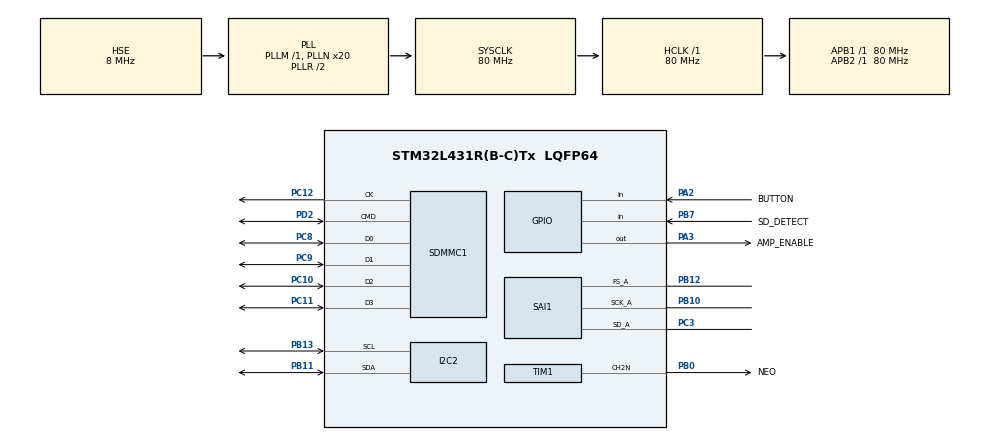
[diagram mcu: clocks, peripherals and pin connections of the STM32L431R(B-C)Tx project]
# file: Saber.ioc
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Dma.Request0=SAI1_A
Dma.Request1=SDMMC1
Dma.SAI1_A.0.Direction=DMA_MEMORY_TO_PERIPH
Dma.SAI1_A.0.Instance=DMA2_Channel1
Dma.SAI1_A.0.MemDataAlignment=DMA_MDATAALIGN_HALFWORD
Dma.SAI1_A.0.MemInc=DMA_MINC_ENABLE
Dma.SAI1_A.0.Mode=DMA_CIRCULAR
Dma.SAI1_A.0.PeriphDataAlignment=DMA_PDATAALIGN_HALFWORD
Dma.SAI1_A.0.PeriphInc=DMA_PINC_DISABLE
Dma.SAI1_A.0.Priority=DMA_PRIORITY_VERY_HIGH
Dma.SDMMC1.1.Direction=DMA_PERIPH_TO_MEMORY
Dma.SDMMC1.1.Instance=DMA2_Channel4
Dma.SDMMC1.1.MemDataAlignment=DMA_MDATAALIGN_WORD
Dma.SDMMC1.1.MemInc=DMA_MINC_ENABLE
Dma.SDMMC1.1.Mode=DMA_NORMAL
Dma.SDMMC1.1.PeriphDataAlignment=DMA_PDATAALIGN_WORD
Dma.SDMMC1.1.PeriphInc=DMA_PINC_DISABLE
Dma.SDMMC1.1.Priority=DMA_PRIORITY_VERY_HIGH
FATFS.BSP.number=1
FATFS.USE_DMA_CODE_SD=1
FATFS._FS_LOCK=3
FATFS._FS_MINIMIZE=0
FATFS._FS_NORTC=0
FATFS._FS_TIMEOUT=2000
FATFS._NORTC_MON=8
FATFS._NORTC_YEAR=2024
FATFS._STRF_ENCODE=0
FATFS._USE_LFN=2
FATFS0.BSP.STBoard=false
FATFS0.BSP.api=Unknown
FATFS0.BSP.instance=PB7
FATFS0.BSP.ip=GPIO
FATFS0.BSP.mode=Input
FATFS0.BSP.name=Detect_SDIO
FATFS0.BSP.solution=PB7
I2C2.Timing=0x10D19CE4
Mcu.Family=STM32L4
Mcu.Name=STM32L431R(B-C)Tx
Mcu.Package=LQFP64
NVIC.DMA2_Channel1_IRQn=true\:0\:0\:false\:false\:true\:false\:true\:true
NVIC.DMA2_Channel4_IRQn=true\:0\:0\:false\:false\:true\:false\:true\:true
NVIC.PriorityGroup=NVIC_PRIORITYGROUP_4
NVIC.SDMMC1_IRQn=true\:0\:0\:false\:false\:true\:true\:true\:true
PA13\ (JTMS-SWDIO).Mode=Trace_Asynchronous_SW
PA13\ (JTMS-SWDIO).Signal=SYS_JTMS-SWDIO
PA14\ (JTCK-SWCLK).Mode=Trace_Asynchronous_SW
PA14\ (JTCK-SWCLK).Signal=SYS_JTCK-SWCLK
PA2.GPIO_Label=BUTTON
PA2.Signal=GPIO_Input
PA3.GPIO_Label=AMP_ENABLE
PA3.GPIO_PuPd=GPIO_PULLUP
PA3.PinState=GPIO_PIN_SET
PA3.Signal=GPIO_Output
PB0.GPIO_Label=NEO
PB0.Mode=Output Compare2 CH2N
PB0.Signal=TIM1_CH2N
PB10.Mode=SAI_A_Master
PB10.Signal=SAI1_SCK_A
PB11.Mode=I2C
PB11.Signal=I2C2_SDA
PB12.Mode=SAI_A_Master
PB12.Signal=SAI1_FS_A
PB13.Mode=I2C
PB13.Signal=I2C2_SCL
PB3\ (JTDO-TRACESWO).Mode=Trace_Asynchronous_SW
PB3\ (JTDO-TRACESWO).Signal=SYS_JTDO-SWO
PB7.GPIO_Label=SD_DETECT
PB7.Signal=GPIO_Input
PC10.GPIO_PuPd=GPIO_PULLUP
PC10.GPIO_Speed_High_Default=GPIO_SPEED_FREQ_LOW
PC10.Mode=SD_4_bits_Wide_bus
PC10.Signal=SDMMC1_D2
PC11.GPIO_PuPd=GPIO_PULLUP
PC11.GPIO_Speed_High_Default=GPIO_SPEED_FREQ_LOW
PC11.Mode=SD_4_bits_Wide_bus
PC11.Signal=SDMMC1_D3
PC12.GPIO_Speed_High_Default=GPIO_SPEED_FREQ_LOW
PC12.Mode=SD_4_bits_Wide_bus
PC12.Signal=SDMMC1_CK
PC3.Mode=SAI_A_Master
PC3.Signal=SAI1_SD_A
PC8.GPIO_PuPd=GPIO_PULLUP
PC8.GPIO_Speed_High_Default=GPIO_SPEED_FREQ_LOW
PC8.Mode=SD_4_bits_Wide_bus
PC8.Signal=SDMMC1_D0
PC9.GPIO_PuPd=GPIO_PULLUP
PC9.GPIO_Speed_High_Default=GPIO_SPEED_FREQ_LOW
PC9.Mode=SD_4_bits_Wide_bus
PC9.Signal=SDMMC1_D1
PD2.GPIO_PuPd=GPIO_PULLUP
PD2.GPIO_Speed_High_Default=GPIO_SPEED_FREQ_LOW
PD2.Mode=SD_4_bits_Wide_bus
PD2.Signal=SDMMC1_CMD
PH0-OSC_IN\ (PH0).Mode=HSE-External-Oscillator
PH0-OSC_IN\ (PH0).Signal=RCC_OSC_IN
PH1-OSC_OUT\ (PH1).Mode=HSE-External-Oscillator
PH1-OSC_OUT\ (PH1).Signal=RCC_OSC_OUT
ProjectManager.HeapSize=0x400
ProjectManager.StackSize=0x800
ProjectManager.TargetToolchain=STM32CubeIDE
RCC.ADCFreq_Value=148000000
RCC.AHBFreq_Value=80000000
RCC.APB1Freq_Value=80000000
RCC.APB1TimFreq_Value=80000000
RCC.APB2Freq_Value=80000000
RCC.APB2TimFreq_Value=80000000
RCC.CK48CLockSelection=RCC_USBCLKSOURCE_PLL
RCC.CortexFreq_Value=80000000
RCC.HCLKFreq_Value=80000000
RCC.HSE_VALUE=8000000
RCC.HSI48_VALUE=48000000
RCC.HSI_VALUE=16000000
RCC.LSE_VALUE=32768
RCC.MSI_VALUE=4000000
RCC.PLLN=20
RCC.PLLQ=RCC_PLLQ_DIV4
RCC.PLLSAI1N=37
RCC.PLLSAI1P=RCC_PLLP_DIV6
RCC.PLLSAI1Q=RCC_PLLQ_DIV8
RCC.PLLSourceVirtual=RCC_PLLSOURCE_HSE
RCC.SYSCLKFreq_VALUE=80000000
RCC.SYSCLKSource=RCC_SYSCLKSOURCE_PLLCLK
RCC.VCOOutputFreq_Value=160000000
SAI1.AudioFrequency-SAI_A_Master=SAI_AUDIO_FREQUENCY_48K
SAI1.ErrorAudioFreq-SAI_A_Master=0.36 %
SAI1.FIFOThreshold-SAI_A_Master=SAI_FIFOTHRESHOLD_EMPTY
SAI1.InitProtocol-SAI_A_Master=Enable
SAI1.Instance-SAI_A_Master=SAI$Index_Block_A
SAI1.MClockEnable-SAI_A_Master=SAI_MASTERCLOCK_DISABLE
SAI1.MonoStereoMode-SAI_A_Master=SAI_STEREOMODE
SAI1.OutputDrive-SAI_A_Master=SAI_OUTPUTDRIVE_ENABLE
SAI1.RealAudioFreq-SAI_A_Master=48.177 KHz
SAI1.VirtualMode-SAI_A_Master=VM_MASTER
SAI1.VirtualProtocol-SAI_A_BASIC=VM_BASIC_PROTOCOL
SDMMC1.ClockDiv=1
SDMMC1.HardwareFlowControl=SDMMC_HARDWARE_FLOW_CONTROL_ENABLE
TIM1.Channel-Output\ Compare2\ CH2N=TIM_CHANNEL_2
TIM1.Period=99
VP_FATFS_VS_SDIO.Mode=SDIO
VP_SAI1_VP_$IpInstance_SAIA_SAI_BASIC.Mode=SAI_A_BASIC
VP_TIM1_VS_ClockSourceINT.Mode=Internal
board=custom

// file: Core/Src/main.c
/* USER CODE BEGIN Header */
/**
  ******************************************************************************
  * @file           : main.c
  * @brief          : Main program body
  ******************************************************************************
  * @attention
  *
  * Copyright (c) 2022 STMicroelectronics.
  * All rights reserved.
  *
  * This software is licensed under terms that can be found in the LICENSE file
  * in the root directory of this software component.
  * If no LICENSE file comes with this software, it is provided AS-IS.
  *
  ******************************************************************************
  */
/* USER CODE END Header */
#include "main.h"
#include "fatfs.h"

/* USER CODE BEGIN Includes */
#include "lsm6dsr_reg.h"
#include <string.h>
#include <stdio.h>
#include <stdbool.h>

/* USER CODE END Includes */

/* USER CODE BEGIN PD */
#define MAX_LED 59 // LED Count
#define SENSOR_BUS hi2c2
//#define I2C_ENABLE
//#define NEO_ENABLE
#define SD_ENABLE
/* USER CODE END PD */

/* USER CODE BEGIN PM */
#define    BOOT_TIME            30 //ms
#define BUFFER_SIZE 512  // Adjust size as needed
/* USER CODE END PM */

I2C_HandleTypeDef hi2c2;

SAI_HandleTypeDef hsai_BlockA1;
DMA_HandleTypeDef hdma_sai1_a;

SD_HandleTypeDef hsd1;
DMA_HandleTypeDef hdma_sdmmc1;

TIM_HandleTypeDef htim1;

/* USER CODE BEGIN PV */
FATFS fs;
FIL audioFile;
WAV_HeaderTypeDef wavHeader;

uint16_t bufferA[BUFFER_SIZE];
uint16_t bufferB[BUFFER_SIZE];
volatile uint8_t bufferReady = 0;
uint8_t currentBuffer = 0;
uint8_t fillBuffer = 0;
uint8_t playing = 0;

#ifdef NEO_ENABLE
uint8_t LED_Data[MAX_LED][4];
uint16_t pwmData[(24*MAX_LED)+50];
int datasentflag = 0;
uint32_t sine_wave_index = 0;
#endif

#ifdef I2C_ENABLE
static int16_t data_raw_acceleration[3];
static int16_t data_raw_angular_rate[3];
static int16_t data_raw_temperature;
static float acceleration_mg[3];
static float angular_rate_mdps[3];
static float temperature_degC;
static uint8_t whoamI, rst;
static uint8_t tx_buffer[1000];
#endif

/* USER CODE END PV */

void SystemClock_Config(void);
static void MX_GPIO_Init(void);
static void MX_DMA_Init(void);
static void MX_I2C2_Init(void);
static void MX_SAI1_Init(void);
static void MX_SDMMC1_SD_Init(void);
static void MX_TIM1_Init(void);
/* USER CODE BEGIN PFP */
#ifdef NEO_ENABLE
void Set_LED (int LEDnum, int Red, int Green, int Blue);
void WS2812_Send (void);
#endif

#ifdef I2C_ENABLE
static int32_t platform_write(void *handle, uint8_t reg, const uint8_t *bufp,
                              uint16_t len);
static int32_t platform_read(void *handle, uint8_t reg, uint8_t *bufp,
                             uint16_t len);
static void tx_com( uint8_t *tx_buffer, uint16_t len );
#endif

void FillBuffer();
int8_t MountFileSystem(int force);
FRESULT ReadWavHeader(FIL *audioFile, WAV_HeaderTypeDef *wavHeader) ;
MAXRESULT SDInit(char* fileName);
void StartAudioPlayback(char* fileToPlay);
void AdjustVolume(void* buffer, uint16_t size, uint16_t vol);
//static void platform_delay(uint32_t ms);

int _write(int file, char *ptr, int len)
{
	int i=0;
	for(i=0; i<len; i++)
		ITM_SendChar((*ptr++));
	return len;
}

/* USER CODE END PFP */

int main(void)
{

  /* MCU Configuration--------------------------------------------------------*/

  /* Reset of all peripherals, Initializes the Flash interface and the Systick. */
  HAL_Init();

  /* Configure the system clock */
  SystemClock_Config();

  /* Initialize all configured peripherals */
  MX_GPIO_Init();
  MX_DMA_Init();
  MX_I2C2_Init();
  MX_SAI1_Init();
  MX_SDMMC1_SD_Init();
  MX_TIM1_Init();
  MX_FATFS_Init();
  /* USER CODE BEGIN 2 */

#ifdef I2C_ENABLE
  I2CInit();
#endif

  /* USER CODE END 2 */

  /* Infinite loop */
  /* USER CODE BEGIN WHILE */
  while (1)
  {
#ifdef I2C_ENABLE
	  printf("Print \n");
	  uint8_t reg;
	  lsm6dsr_xl_flag_data_ready_get(&dev_ctx, &reg);
	  if (reg) {

	        memset(data_raw_acceleration, 0x00, 3 * sizeof(int16_t));
	        lsm6dsr_acceleration_raw_get(&dev_ctx, data_raw_acceleration);
	        acceleration_mg[0] = lsm6dsr_from_fs2g_to_mg(data_raw_acceleration[0]);
	        acceleration_mg[1] = lsm6dsr_from_fs2g_to_mg(data_raw_acceleration[1]);
	        acceleration_mg[2] = lsm6dsr_from_fs2g_to_mg(data_raw_acceleration[2]);
	        printf((char *)tx_buffer,
	                "Acceleration [mg]:%4.2f\t%4.2f\t%4.2f\r\n",
	                acceleration_mg[0], acceleration_mg[1], acceleration_mg[2]);
	      }

#endif
	      //printf("Looping\n\r");
	  	  if (HAL_GPIO_ReadPin(GPIOA,BUTTON_Pin) == GPIO_PIN_SET && playing == 0)StartAudioPlayback("ON.WAV");

  }
    /* USER CODE END WHILE */

}

void SystemClock_Config(void)
{
  RCC_OscInitTypeDef RCC_OscInitStruct = {0};
  RCC_ClkInitTypeDef RCC_ClkInitStruct = {0};

  /** Configure the main internal regulator output voltage
  */
  if (HAL_PWREx_ControlVoltageScaling(PWR_REGULATOR_VOLTAGE_SCALE1) != HAL_OK)
  {
    Error_Handler();
  }

  /** Initializes the RCC Oscillators according to the specified parameters
  * in the RCC_OscInitTypeDef structure.
  */
  RCC_OscInitStruct.OscillatorType = RCC_OSCILLATORTYPE_HSE;
  RCC_OscInitStruct.HSEState = RCC_HSE_ON;
  RCC_OscInitStruct.PLL.PLLState = RCC_PLL_ON;
  RCC_OscInitStruct.PLL.PLLSource = RCC_PLLSOURCE_HSE;
  RCC_OscInitStruct.PLL.PLLM = 1;
  RCC_OscInitStruct.PLL.PLLN = 20;
  RCC_OscInitStruct.PLL.PLLP = RCC_PLLP_DIV7;
  RCC_OscInitStruct.PLL.PLLQ = RCC_PLLQ_DIV4;
  RCC_OscInitStruct.PLL.PLLR = RCC_PLLR_DIV2;
  if (HAL_RCC_OscConfig(&RCC_OscInitStruct) != HAL_OK)
  {
    Error_Handler();
  }

  /** Initializes the CPU, AHB and APB buses clocks
  */
  RCC_ClkInitStruct.ClockType = RCC_CLOCKTYPE_HCLK|RCC_CLOCKTYPE_SYSCLK
                              |RCC_CLOCKTYPE_PCLK1|RCC_CLOCKTYPE_PCLK2;
  RCC_ClkInitStruct.SYSCLKSource = RCC_SYSCLKSOURCE_PLLCLK;
  RCC_ClkInitStruct.AHBCLKDivider = RCC_SYSCLK_DIV1;
  RCC_ClkInitStruct.APB1CLKDivider = RCC_HCLK_DIV1;
  RCC_ClkInitStruct.APB2CLKDivider = RCC_HCLK_DIV1;

  if (HAL_RCC_ClockConfig(&RCC_ClkInitStruct, FLASH_LATENCY_4) != HAL_OK)
  {
    Error_Handler();
  }
}

static void MX_I2C2_Init(void)
{

  hi2c2.Instance = I2C2;
  hi2c2.Init.Timing = 0x10D19CE4;
  hi2c2.Init.OwnAddress1 = 0;
  hi2c2.Init.AddressingMode = I2C_ADDRESSINGMODE_7BIT;
  hi2c2.Init.DualAddressMode = I2C_DUALADDRESS_DISABLE;
  hi2c2.Init.OwnAddress2 = 0;
  hi2c2.Init.OwnAddress2Masks = I2C_OA2_NOMASK;
  hi2c2.Init.GeneralCallMode = I2C_GENERALCALL_DISABLE;
  hi2c2.Init.NoStretchMode = I2C_NOSTRETCH_DISABLE;
  if (HAL_I2C_Init(&hi2c2) != HAL_OK)
  {
    Error_Handler();
  }

  /** Configure Analogue filter
  */
  if (HAL_I2CEx_ConfigAnalogFilter(&hi2c2, I2C_ANALOGFILTER_ENABLE) != HAL_OK)
  {
    Error_Handler();
  }

  /** Configure Digital filter
  */
  if (HAL_I2CEx_ConfigDigitalFilter(&hi2c2, 0) != HAL_OK)
  {
    Error_Handler();
  }

}

static void MX_SAI1_Init(void)
{

  hsai_BlockA1.Instance = SAI1_Block_A;
  hsai_BlockA1.Init.AudioMode = SAI_MODEMASTER_TX;
  hsai_BlockA1.Init.Synchro = SAI_ASYNCHRONOUS;
  hsai_BlockA1.Init.OutputDrive = SAI_OUTPUTDRIVE_ENABLE;
  hsai_BlockA1.Init.NoDivider = SAI_MASTERDIVIDER_ENABLE;
  hsai_BlockA1.Init.FIFOThreshold = SAI_FIFOTHRESHOLD_EMPTY;
  hsai_BlockA1.Init.AudioFrequency = SAI_AUDIO_FREQUENCY_48K;
  hsai_BlockA1.Init.SynchroExt = SAI_SYNCEXT_DISABLE;
  hsai_BlockA1.Init.MonoStereoMode = SAI_STEREOMODE;
  hsai_BlockA1.Init.CompandingMode = SAI_NOCOMPANDING;
  hsai_BlockA1.Init.TriState = SAI_OUTPUT_NOTRELEASED;
  if (HAL_SAI_InitProtocol(&hsai_BlockA1, SAI_I2S_STANDARD, SAI_PROTOCOL_DATASIZE_16BIT, 2) != HAL_OK)
  {
    Error_Handler();
  }

}

static void MX_SDMMC1_SD_Init(void)
{

  hsd1.Instance = SDMMC1;
  hsd1.Init.ClockEdge = SDMMC_CLOCK_EDGE_RISING;
  hsd1.Init.ClockBypass = SDMMC_CLOCK_BYPASS_DISABLE;
  hsd1.Init.ClockPowerSave = SDMMC_CLOCK_POWER_SAVE_DISABLE;
  hsd1.Init.BusWide = SDMMC_BUS_WIDE_4B;
  hsd1.Init.HardwareFlowControl = SDMMC_HARDWARE_FLOW_CONTROL_ENABLE;
  hsd1.Init.ClockDiv = 1;

}

static void MX_TIM1_Init(void)
{

  TIM_ClockConfigTypeDef sClockSourceConfig = {0};
  TIM_MasterConfigTypeDef sMasterConfig = {0};
  TIM_OC_InitTypeDef sConfigOC = {0};
  TIM_BreakDeadTimeConfigTypeDef sBreakDeadTimeConfig = {0};

  htim1.Instance = TIM1;
  htim1.Init.Prescaler = 0;
  htim1.Init.CounterMode = TIM_COUNTERMODE_UP;
  htim1.Init.Period = 99;
  htim1.Init.ClockDivision = TIM_CLOCKDIVISION_DIV1;
  htim1.Init.RepetitionCounter = 0;
  htim1.Init.AutoReloadPreload = TIM_AUTORELOAD_PRELOAD_DISABLE;
  if (HAL_TIM_Base_Init(&htim1) != HAL_OK)
  {
    Error_Handler();
  }
  sClockSourceConfig.ClockSource = TIM_CLOCKSOURCE_INTERNAL;
  if (HAL_TIM_ConfigClockSource(&htim1, &sClockSourceConfig) != HAL_OK)
  {
    Error_Handler();
  }
  if (HAL_TIM_OC_Init(&htim1) != HAL_OK)
  {
    Error_Handler();
  }
  sMasterConfig.MasterOutputTrigger = TIM_TRGO_RESET;
  sMasterConfig.MasterOutputTrigger2 = TIM_TRGO2_RESET;
  sMasterConfig.MasterSlaveMode = TIM_MASTERSLAVEMODE_DISABLE;
  if (HAL_TIMEx_MasterConfigSynchronization(&htim1, &sMasterConfig) != HAL_OK)
  {
    Error_Handler();
  }
  sConfigOC.OCMode = TIM_OCMODE_TIMING;
  sConfigOC.Pulse = 0;
  sConfigOC.OCPolarity = TIM_OCPOLARITY_HIGH;
  sConfigOC.OCNPolarity = TIM_OCNPOLARITY_HIGH;
  sConfigOC.OCFastMode = TIM_OCFAST_DISABLE;
  sConfigOC.OCIdleState = TIM_OCIDLESTATE_RESET;
  sConfigOC.OCNIdleState = TIM_OCNIDLESTATE_RESET;
  if (HAL_TIM_OC_ConfigChannel(&htim1, &sConfigOC, TIM_CHANNEL_2) != HAL_OK)
  {
    Error_Handler();
  }
  sBreakDeadTimeConfig.OffStateRunMode = TIM_OSSR_DISABLE;
  sBreakDeadTimeConfig.OffStateIDLEMode = TIM_OSSI_DISABLE;
  sBreakDeadTimeConfig.LockLevel = TIM_LOCKLEVEL_OFF;
  sBreakDeadTimeConfig.DeadTime = 0;
  sBreakDeadTimeConfig.BreakState = TIM_BREAK_DISABLE;
  sBreakDeadTimeConfig.BreakPolarity = TIM_BREAKPOLARITY_HIGH;
  sBreakDeadTimeConfig.BreakFilter = 0;
  sBreakDeadTimeConfig.Break2State = TIM_BREAK2_DISABLE;
  sBreakDeadTimeConfig.Break2Polarity = TIM_BREAK2POLARITY_HIGH;
  sBreakDeadTimeConfig.Break2Filter = 0;
  sBreakDeadTimeConfig.AutomaticOutput = TIM_AUTOMATICOUTPUT_DISABLE;
  if (HAL_TIMEx_ConfigBreakDeadTime(&htim1, &sBreakDeadTimeConfig) != HAL_OK)
  {
    Error_Handler();
  }
  HAL_TIM_MspPostInit(&htim1);

}

static void MX_DMA_Init(void)
{

  /* DMA controller clock enable */
  __HAL_RCC_DMA2_CLK_ENABLE();

  /* DMA interrupt init */
  /* DMA2_Channel1_IRQn interrupt configuration */
  HAL_NVIC_SetPriority(DMA2_Channel1_IRQn, 0, 0);
  HAL_NVIC_EnableIRQ(DMA2_Channel1_IRQn);
  /* DMA2_Channel4_IRQn interrupt configuration */
  HAL_NVIC_SetPriority(DMA2_Channel4_IRQn, 0, 0);
  HAL_NVIC_EnableIRQ(DMA2_Channel4_IRQn);

}

static void MX_GPIO_Init(void)
{
  GPIO_InitTypeDef GPIO_InitStruct = {0};

  /* GPIO Ports Clock Enable */
  __HAL_RCC_GPIOH_CLK_ENABLE();
  __HAL_RCC_GPIOC_CLK_ENABLE();
  __HAL_RCC_GPIOA_CLK_ENABLE();
  __HAL_RCC_GPIOB_CLK_ENABLE();
  __HAL_RCC_GPIOD_CLK_ENABLE();

  /*Configure GPIO pin Output Level */
  HAL_GPIO_WritePin(AMP_ENABLE_GPIO_Port, AMP_ENABLE_Pin, GPIO_PIN_SET);

  /*Configure GPIO pin : BUTTON_Pin */
  GPIO_InitStruct.Pin = BUTTON_Pin;
  GPIO_InitStruct.Mode = GPIO_MODE_INPUT;
  GPIO_InitStruct.Pull = GPIO_NOPULL;
  HAL_GPIO_Init(BUTTON_GPIO_Port, &GPIO_InitStruct);

  /*Configure GPIO pin : AMP_ENABLE_Pin */
  GPIO_InitStruct.Pin = AMP_ENABLE_Pin;
  GPIO_InitStruct.Mode = GPIO_MODE_OUTPUT_PP;
  GPIO_InitStruct.Pull = GPIO_PULLUP;
  GPIO_InitStruct.Speed = GPIO_SPEED_FREQ_LOW;
  HAL_GPIO_Init(AMP_ENABLE_GPIO_Port, &GPIO_InitStruct);

  /*Configure GPIO pin : SD_DETECT_Pin */
  GPIO_InitStruct.Pin = SD_DETECT_Pin;
  GPIO_InitStruct.Mode = GPIO_MODE_INPUT;
  GPIO_InitStruct.Pull = GPIO_NOPULL;
  HAL_GPIO_Init(SD_DETECT_GPIO_Port, &GPIO_InitStruct);

}

/* USER CODE BEGIN 4 */

void I2CInit()
{
	stmdev_ctx_t dev_ctx;
	dev_ctx.write_reg = platform_write;
	dev_ctx.read_reg = platform_read;
	dev_ctx.handle = &SENSOR_BUS;
	lsm6dsr_device_id_get(&dev_ctx, &whoamI);
	  if (whoamI != LSM6DSR_ID)
		while (1);

	lsm6dsr_reset_set(&dev_ctx, PROPERTY_ENABLE);
	do {
	   lsm6dsr_reset_get(&dev_ctx, &rst);
	 } while (rst);

	lsm6dsr_i3c_disable_set(&dev_ctx, LSM6DSR_I3C_DISABLE);

	lsm6dsr_block_data_update_set(&dev_ctx, PROPERTY_ENABLE);

	lsm6dsr_xl_data_rate_set(&dev_ctx, LSM6DSR_XL_ODR_12Hz5);
	lsm6dsr_gy_data_rate_set(&dev_ctx, LSM6DSR_GY_ODR_12Hz5);

	lsm6dsr_xl_full_scale_set(&dev_ctx, LSM6DSR_2g);
	lsm6dsr_gy_full_scale_set(&dev_ctx, LSM6DSR_2000dps);

	lsm6dsr_xl_hp_path_on_out_set(&dev_ctx, LSM6DSR_LP_ODR_DIV_100);
	lsm6dsr_xl_filter_lp2_set(&dev_ctx, PROPERTY_ENABLE);
}

void FillBuffer()
{
    UINT bytesRead = 0;
    while(hdma_sdmmc1.State != HAL_DMA_STATE_READY){}
    currentBuffer = 1 - currentBuffer;
    FRESULT res;
    if (currentBuffer == 1) res = f_read(&audioFile, &bufferA, BUFFER_SIZE, &bytesRead);
    else res = f_read(&audioFile, &bufferB, BUFFER_SIZE, &bytesRead);
    if (res != FR_OK || bytesRead < BUFFER_SIZE)
    {
        // Handle end of file or read error
    	while(hdma_sdmmc1.State != HAL_DMA_STATE_READY){}
        HAL_SAI_DMAStop(&hsai_BlockA1);
        f_close(&audioFile);
        playing = 0;
        fillBuffer = 0;
    }

    //AdjustVolume(buffer, size, 20);
}

FRESULT ReadWavHeader(FIL *audioFile, WAV_HeaderTypeDef *wavHeader) {

	UINT bytesRead;
    FRESULT res;

    // Read the WAV header
    res = f_read(audioFile, wavHeader, sizeof(WAV_HeaderTypeDef), &bytesRead);
    if (res != FR_OK || bytesRead != sizeof(WAV_HeaderTypeDef)) {
        return FR_DISK_ERR;
    }

    // Check if the file is a valid WAV file
    if (memcmp(wavHeader->ChunkID, "RIFF", 4) != 0 ||
        memcmp(wavHeader->Format, "WAVE", 4) != 0) {
        return FR_INVALID_OBJECT;
    }

    return FR_OK;
}

int8_t MountFileSystem(int force)
{
	int i = 0;
	for (i=0;i<50;i++);
	if(f_mount(&fs, "", force) != FR_OK) return 0;
	printf("File Mounted\n");
	return 1;
}

MAXRESULT SDInit(char* fileName)
{
	FRESULT res;
	if (MountFileSystem(1)!= 1)
		return MAX_MOUNTERR;
	printf("Opening File\n");
	//Open WAV file

	res = f_open(&audioFile, fileName, FA_READ | FA_OPEN_EXISTING);
	if(res != FR_OK) return MAX_OPENERR;
	printf("File Open!\n");

	if(ReadWavHeader(&audioFile, &wavHeader)!= FR_OK)
	{
		f_close(&audioFile);
		Error_Handler();
	}

	return MAX_SUCCESS;

}

void AdjustVolume(void* buffer, uint16_t size, uint16_t vol)
{
    uint16_t* s = buffer;

    for (int i = 0; i < size; i++) {
      *s = *s * vol;
      s++;
    }
}
void StartAudioPlayback(char* fileToPlay)
{
	if(SDInit(fileToPlay)!= MAX_SUCCESS) Error_Handler();
	playing = 1;
	FillBuffer();
	HAL_StatusTypeDef dmaStatus = HAL_SAI_Transmit_DMA(&hsai_BlockA1, (uint8_t*) bufferA, BUFFER_SIZE);
	if (dmaStatus != HAL_OK) Error_Handler();
}

void HAL_SAI_TxCpltCallback(SAI_HandleTypeDef *hsai_BlockA1)
{
	//printf("Transfer Complete!\n");
	FillBuffer();
	fillBuffer = 1;
}

void HAL_SAI_TxHalfCpltCallback(SAI_HandleTypeDef *hsai_BlockA1)
{
	//printf("Transfer Half Complete!\n");
	FillBuffer();
	fillBuffer = 1;
}

#ifdef NEO_ENABLE
void Set_LED (int LEDnum, int Red, int Green, int Blue)
{
	LED_Data[LEDnum][0] = LEDnum;
	LED_Data[LEDnum][1] = Green;
	LED_Data[LEDnum][2] = Red;
	LED_Data[LEDnum][3] = Blue;
}

void WS2812_Send (void)
{
	uint32_t indx=0;
	uint32_t color;

	for (int i= 0; i<MAX_LED; i++)
	{
		color = ((LED_Data[i][1]<<16) | (LED_Data[i][2]<<8) | (LED_Data[i][3])); // arrange LED data

		for (int i=23; i>=0; i--)
		{
			if (color&(1<<i))
			{
				pwmData[indx] = 66;  // 2/3 of 100 if bit is 1
			}

			else pwmData[indx] = 33;  // 1/3 of 100 if bit is 0

			indx++;
		}

	}

	for (int i=0; i<50; i++) //reset pulse
	{
		pwmData[indx] = 0;
		indx++;
	}

	HAL_TIM_PWM_Start_DMA(&htim1, TIM_CHANNEL_1, (uint32_t *)pwmData, indx); //send to DMA
	while (!datasentflag){}; //check if DMA is done sending data
	datasentflag = 0;
}
#endif

#ifdef I2C_ENABLE
static int32_t platform_write(void *handle, uint8_t reg, const uint8_t *bufp,
                              uint16_t len)
{
  HAL_I2C_Mem_Write(handle, LSM6DSR_I2C_ADD_L, reg,
                    I2C_MEMADD_SIZE_8BIT, (uint8_t*) bufp, len, 1000);
  return 0;
}

static int32_t platform_read(void *handle, uint8_t reg, uint8_t *bufp,
                             uint16_t len)
{

  HAL_I2C_Mem_Read(handle, LSM6DSR_I2C_ADD_L, reg,
                   I2C_MEMADD_SIZE_8BIT, bufp, len, 1000);
  return 0;
}

static void tx_com(uint8_t *tx_buffer, uint16_t len)
{

}

#endif
/*
static void platform_delay(uint32_t ms)
{
  HAL_Delay(ms);
}
*/
/* USER CODE END 4 */

void Error_Handler(void)
{
  /* USER CODE BEGIN Error_Handler_Debug */
  /* User can add his own implementation to report the HAL error return state */
	printf(" Error\n");
  __disable_irq();
  f_mount(NULL, "/", 1);
  while (1)
  {
  }
  /* USER CODE END Error_Handler_Debug */
}
